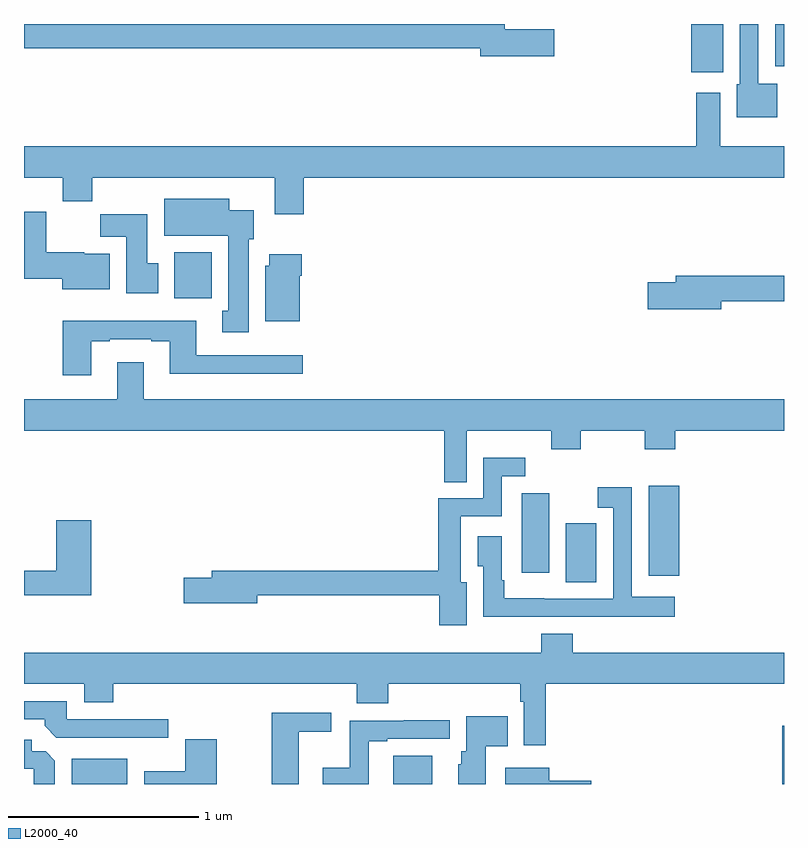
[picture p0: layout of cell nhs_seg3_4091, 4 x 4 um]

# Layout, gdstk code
import gdstk
lib = gdstk.Library(unit=1e-6, precision=1e-09)
def R(c, l, rs):  # rectangles x0, y0, x1, y1
    for r in rs: c.add(gdstk.rectangle(r[:2], r[2:], *l))
def P(c, l, *ps):  # polygons
    for p in ps: c.add(gdstk.Polygon(p, *l))
L2000_40 = (2000, 40)

nhs_seg3_4091 = lib.new_cell('nhs_seg3_4091')
R(nhs_seg3_4091, L2000_40, [(327.251,688.4,327.544,688.534), (328.943,688.4,329.149,688.549), (330.991,688.4,331,688.707), (329.852,689.461,330.013,689.772), (330.287,689.496,330.448,689.971), (329.621,689.513,329.764,689.929), (327.791,690.956,327.988,691.198), (330.512,692.147,330.679,692.4), (330.953,692.178,331,692.4)])
P(nhs_seg3_4091, L2000_40, [(329.791,692.372),(329.53,692.372),(329.53,692.4),(327,692.4),(327,692.272),(329.402,692.272),(329.402,692.23),(329.791,692.23)],
  [(330.964,692.086),(330.864,692.086),(330.864,692.4),(330.768,692.4),(330.768,692.082),(330.752,692.082),(330.752,691.91),(330.964,691.91)],
  [(328.472,691.592),(331,691.592),(331,691.756),(330.664,691.756),(330.664,692.038),(330.539,692.038),(330.539,691.756),(327,691.756),(327,691.592),(327.203,691.592),(327.203,691.468),(327.359,691.468),(327.359,691.592),(328.319,691.592),(328.319,691.398),(328.472,691.398)],
  [(328.183,691.266),(328.21,691.266),(328.21,691.42),(328.081,691.42),(328.081,691.48),(327.737,691.48),(327.737,691.286),(328.076,691.286),(328.076,690.89),(328.043,690.89),(328.043,690.777),(328.183,690.777)],
  [(327.451,691.192),(327.318,691.192),(327.318,691.198),(327.118,691.198),(327.118,691.411),(327,691.411),(327,691.058),(327.2,691.058),(327.2,691.004),(327.451,691.004)],
  [(327.706,691.14),(327.649,691.14),(327.649,691.398),(327.4,691.398),(327.4,691.28),(327.539,691.28),(327.539,690.984),(327.706,690.984)],
  [(328.45,691.076),(328.463,691.076),(328.463,691.189),(328.292,691.189),(328.292,691.128),(328.271,691.128),(328.271,690.836),(328.45,690.836)],
  [(330.67,690.94),(331,690.94),(331,691.076),(330.431,691.076),(330.431,691.04),(330.282,691.04),(330.282,690.898),(330.67,690.898)],
  [(327.355,690.729),(327.451,690.729),(327.451,690.741),(327.671,690.741),(327.671,690.729),(327.767,690.729),(327.767,690.56),(328.468,690.56),(328.468,690.657),(327.907,690.657),(327.907,690.838),(327.203,690.838),(327.203,690.552),(327.355,690.552)],
  [(329.329,690.26),(329.776,690.26),(329.776,690.161),(329.931,690.161),(329.931,690.26),(330.268,690.26),(330.268,690.161),(330.428,690.161),(330.428,690.26),(331,690.26),(331,690.424),(327.631,690.424),(327.631,690.619),(327.491,690.619),(327.491,690.424),(327,690.424),(327,690.26),(329.211,690.26),(329.211,689.989),(329.329,689.989)],
  [(329.329,689.463),(329.299,689.463),(329.299,689.808),(329.514,689.808),(329.514,690.021),(329.638,690.021),(329.638,690.118),(329.418,690.118),(329.418,689.904),(329.181,689.904),(329.181,689.522),(327.989,689.522),(327.989,689.486),(327.84,689.486),(327.84,689.351),(328.228,689.351),(328.228,689.394),(329.186,689.394),(329.186,689.235),(329.329,689.235)],
  [(329.639,689.28),(330.005,689.28),(330.005,689.279),(330.424,689.279),(330.424,689.386),(330.198,689.386),(330.198,689.962),(330.021,689.962),(330.021,689.853),(330.102,689.853),(330.102,689.376),(329.739,689.376),(329.739,689.377),(329.527,689.377),(329.527,689.473),(329.514,689.473),(329.514,689.704),(329.387,689.704),(329.387,689.545),(329.418,689.545),(329.418,689.279),(329.639,689.279)],
  [(327.353,689.788),(327.17,689.788),(327.17,689.522),(327,689.522),(327,689.394),(327.353,689.394)],
  [(327,688.928),(327.317,688.928),(327.317,688.829),(327.47,688.829),(327.47,688.928),(328.751,688.928),(328.751,688.826),(328.916,688.826),(328.916,688.928),(329.611,688.928),(329.611,688.832),(329.631,688.832),(329.631,688.605),(329.747,688.605),(329.747,688.928),(331,688.928),(331,689.092),(329.888,689.092),(329.888,689.191),(329.723,689.191),(329.723,689.092),(327,689.092)],
  [(327.76,688.74),(327.225,688.74),(327.225,688.836),(327,688.836),(327,688.74),(327.11,688.74),(327.11,688.706),(327.171,688.644),(327.76,688.644)],
  [(328.447,688.676),(328.618,688.676),(328.618,688.774),(328.303,688.774),(328.303,688.4),(328.447,688.4)],
  [(329.431,688.598),(329.546,688.598),(329.546,688.756),(329.327,688.756),(329.327,688.572),(329.3,688.572),(329.3,688.503),(329.285,688.503),(329.285,688.4),(329.431,688.4)],
  [(328.815,688.626),(328.912,688.626),(328.912,688.638),(329.242,688.638),(329.242,688.736),(328.999,688.736),(328.999,688.734),(328.714,688.734),(328.714,688.486),(328.572,688.486),(328.572,688.4),(328.815,688.4)],
  [(328.014,688.636),(327.848,688.636),(327.848,688.468),(327.632,688.468),(327.632,688.4),(328.014,688.4)],
  [(327.163,688.523),(327.114,688.572),(327.04,688.572),(327.04,688.633),(327,688.633),(327,688.479),(327.051,688.479),(327.051,688.4),(327.163,688.4)],
  [(329.986,688.418),(329.764,688.418),(329.764,688.486),(329.534,688.486),(329.534,688.4),(329.986,688.4)])

lib.write_gds('nhs_seg3_4091.gds')
